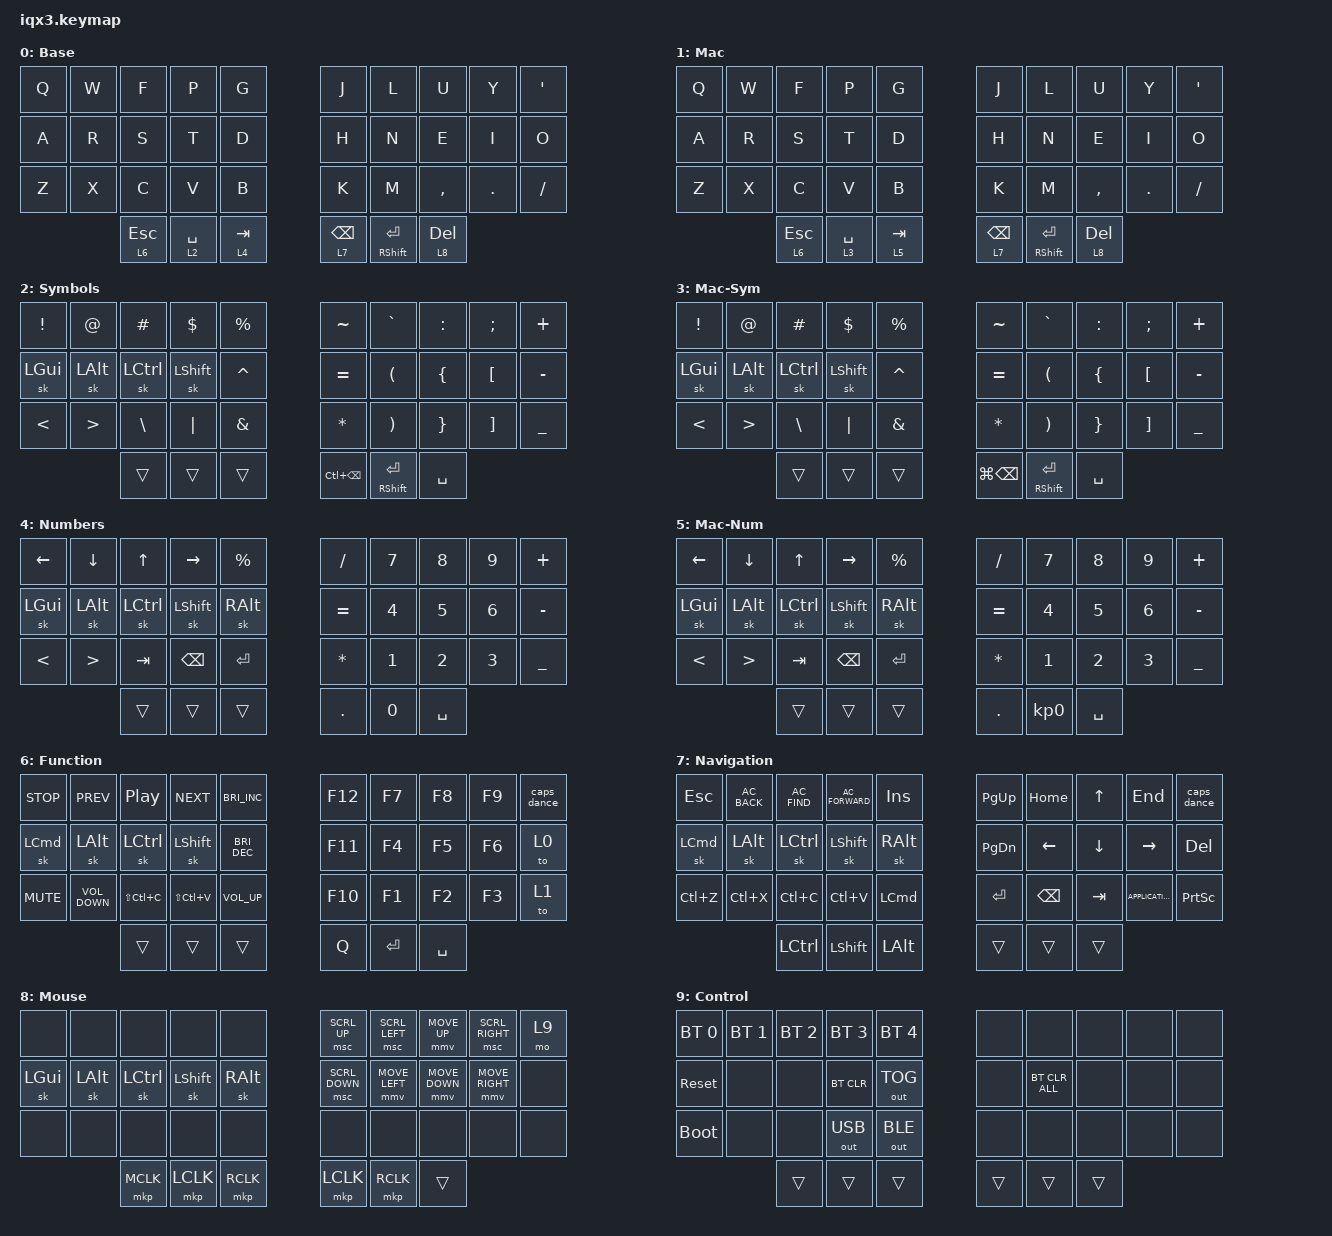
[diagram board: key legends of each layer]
/*
 * Copyright (c) 2020 The ZMK Contributors
 *
 * SPDX-License-Identifier: MIT
 */

#include <behaviors.dtsi>
#include <dt-bindings/zmk/bt.h>
#include <dt-bindings/zmk/keys.h>
#include <dt-bindings/zmk/outputs.h>
#include <dt-bindings/zmk/pointing.h>

/ {
    behaviors {
        ltq: ltq {
            compatible = "zmk,behavior-hold-tap";
            label = "LTQ";
            bindings = <&mo>, <&kp>;

            #binding-cells = <2>;
            tapping-term-ms = <200>;
            quick-tap-ms = <180>;
            flavor = "tap-preferred";
        };

        caps_dance: caps_dance {
            compatible = "zmk,behavior-tap-dance";
            label = "CAPS_DANCE";
            #binding-cells = <0>;
            bindings = <&caps_word>, <&kp CAPS>;
        };

        lock_mouse_layer: lock_mouse_layer {
            compatible = "zmk,behavior-tap-dance";
            label = "LOCK_MOUSE_LAYER";
            #binding-cells = <0>;
            bindings = <&tog_on 8>, <&tog_off 8>;
        };

        tog_on: tog_on {
            compatible = "zmk,behavior-toggle-layer";
            label = "TOG_ON";
            #binding-cells = <1>;
        };

        tog_off: tog_off {
            compatible = "zmk,behavior-toggle-layer";
            label = "TOG_OFF";
            #binding-cells = <1>;
            toggle-mode = "off";
        };
    };

    combos {
        compatible = "zmk,combos";

        tog_mouse {
            bindings = <&tog 8>;
            key-positions = <19 29>;
        };
    };

    keymap {
        compatible = "zmk,keymap";

        Base {
            label = "Base";
            bindings = <
  &kp Q  &kp W  &kp F      &kp P         &kp G       &kp J        &kp L            &kp U         &kp Y    &kp SQT
  &kp A  &kp R  &kp S      &kp T         &kp D       &kp H        &kp N            &kp E         &kp I    &kp O
  &kp Z  &kp X  &kp C      &kp V         &kp B       &kp K        &kp M            &kp COMMA     &kp DOT  &kp SLASH
                &lt 6 ESC  &ltq 2 SPACE  &ltq 4 TAB  &ltq 7 BSPC  &mt RSHFT ENTER  &lt 8 DELETE
            >;
        };

        Mac {
            label = "Mac";
            bindings = <
  &kp Q  &kp W  &kp F      &kp P         &kp G       &kp J        &kp L             &kp U         &kp Y    &kp SQT
  &kp A  &kp R  &kp S      &kp T         &kp D       &kp H        &kp N             &kp E         &kp I    &kp O
  &kp Z  &kp X  &kp C      &kp V         &kp B       &kp K        &kp M             &kp COMMA     &kp DOT  &kp SLASH
                &lt 6 ESC  &ltq 3 SPACE  &ltq 5 TAB  &ltq 7 BSPC  &mt RSHIFT ENTER  &lt 8 DELETE
            >;
        };

        Symbols {
            label = "Symbols";
            bindings = <
  &kp EXCLAMATION  &kp AT_SIGN       &kp HASH       &kp DOLLAR  &kp PERCENT    &kp TILDE          &kp GRAVE              &kp COLON        &kp SEMICOLON      &kp PLUS
  &sk LGUI         &sk LEFT_ALT      &sk LCTRL      &sk LSHFT   &kp CARET      &kp EQUAL          &kp LEFT_PARENTHESIS   &kp LEFT_BRACE   &kp LEFT_BRACKET   &kp MINUS
  &kp LESS_THAN    &kp GREATER_THAN  &kp BACKSLASH  &kp PIPE    &kp AMPERSAND  &kp ASTERISK       &kp RIGHT_PARENTHESIS  &kp RIGHT_BRACE  &kp RIGHT_BRACKET  &kp UNDERSCORE
                                     &trans         &trans      &trans         &kp LC(BACKSPACE)  &mt RSHFT ENTER        &kp SPACE
            >;
        };

        Mac-Sym {
            label = "Mac-Sym";
            bindings = <
  &kp EXCLAMATION  &kp AT_SIGN       &kp HASH       &kp DOLLAR  &kp PERCENT    &kp TILDE          &kp GRAVE              &kp COLON        &kp SEMICOLON      &kp PLUS
  &sk LGUI         &sk LEFT_ALT      &sk LCTRL      &sk LSHFT   &kp CARET      &kp EQUAL          &kp LEFT_PARENTHESIS   &kp LEFT_BRACE   &kp LEFT_BRACKET   &kp MINUS
  &kp LESS_THAN    &kp GREATER_THAN  &kp BACKSLASH  &kp PIPE    &kp AMPERSAND  &kp ASTERISK       &kp RIGHT_PARENTHESIS  &kp RIGHT_BRACE  &kp RIGHT_BRACKET  &kp UNDERSCORE
                                     &trans         &trans      &trans         &kp LG(BACKSPACE)  &mt RSHFT ENTER        &kp SPACE
            >;
        };

        Numbers {
            label = "Numbers";
            bindings = <
  &kp LEFT       &kp DOWN          &kp UP_ARROW  &kp RIGHT      &kp PERCENT  &kp SLASH     &kp N7        &kp N8        &kp N9        &kp PLUS
  &sk LGUI       &sk LEFT_ALT      &sk LCTRL     &sk LSHFT      &sk RALT     &kp EQUAL     &kp NUMBER_4  &kp N5        &kp NUMBER_6  &kp MINUS
  &kp LESS_THAN  &kp GREATER_THAN  &kp TAB       &kp BACKSPACE  &kp ENTER    &kp ASTERISK  &kp NUMBER_1  &kp NUMBER_2  &kp NUMBER_3  &kp UNDERSCORE
                                   &trans        &trans         &trans       &kp PERIOD    &kp NUMBER_0  &kp SPACE
            >;
        };

        Mac-Num {
            label = "Mac-Num";
            bindings = <
  &kp LEFT       &kp DOWN          &kp UP_ARROW  &kp RIGHT      &kp PERCENT  &kp SLASH     &kp N7           &kp N8        &kp N9        &kp PLUS
  &sk LGUI       &sk LEFT_ALT      &sk LCTRL     &sk LSHFT      &sk RALT     &kp EQUAL     &kp NUMBER_4     &kp N5        &kp NUMBER_6  &kp MINUS
  &kp LESS_THAN  &kp GREATER_THAN  &kp TAB       &kp BACKSPACE  &kp ENTER    &kp ASTERISK  &kp NUMBER_1     &kp NUMBER_2  &kp NUMBER_3  &kp UNDERSCORE
                                   &trans        &trans         &trans       &kp PERIOD    &kp KP_NUMBER_0  &kp SPACE
            >;
        };

        Function {
            label = "Function";
            bindings = <
  &kp C_STOP  &kp C_PREV         &kp C_PLAY_PAUSE  &kp C_NEXT     &kp C_BRIGHTNESS_INC  &kp F12  &kp F7     &kp F8     &kp F9  &caps_dance
  &sk LCMD    &sk LEFT_ALT       &sk LCTRL         &sk LSHFT      &kp C_BRIGHTNESS_DEC  &kp F11  &kp F4     &kp F5     &kp F6  &to 0
  &kp C_MUTE  &kp C_VOLUME_DOWN  &kp LS(LC(C))     &kp LS(LC(V))  &kp C_VOLUME_UP       &kp F10  &kp F1     &kp F2     &kp F3  &to 1
                                 &trans            &trans         &trans                &kp Q    &kp ENTER  &kp SPACE
            >;
        };

        Navigation {
            label = "Navigation";
            bindings = <
  &kp ESCAPE  &kp C_AC_BACK  &kp C_AC_FIND  &kp C_AC_FORWARD  &kp INSERT     &kp PAGE_UP    &kp HOME       &kp UP    &kp END            &caps_dance
  &sk LCMD    &sk LEFT_ALT   &sk LCTRL      &sk LSHFT         &sk RIGHT_ALT  &kp PAGE_DOWN  &kp LEFT       &kp DOWN  &kp RIGHT          &kp DELETE
  &kp LC(Z)   &kp LC(X)      &kp LC(C)      &kp LC(V)         &kp LCMD       &kp ENTER      &kp BACKSPACE  &kp TAB   &kp K_APPLICATION  &kp PRINTSCREEN
                             &kp LCTRL      &kp LSHFT         &kp LEFT_ALT   &trans         &trans         &trans
            >;
        };

        Mouse {
            label = "Mouse";
            bindings = <
  &none     &none     &none      &none      &none      &msc SCRL_UP    &msc SCRL_LEFT  &mmv MOVE_UP    &msc SCRL_RIGHT  &mo 9
  &sk LGUI  &sk LALT  &sk LCTRL  &sk LSHFT  &sk RALT   &msc SCRL_DOWN  &mmv MOVE_LEFT  &mmv MOVE_DOWN  &mmv MOVE_RIGHT  &none
  &none     &none     &none      &none      &none      &none           &none           &none           &none            &none
                      &mkp MCLK  &mkp LCLK  &mkp RCLK  &mkp LCLK       &mkp RCLK       &trans
            >;
        };

        Control {
            label = "Control";
            bindings = <
  &bt BT_SEL 0  &bt BT_SEL 1  &bt BT_SEL 2  &bt BT_SEL 3  &bt BT_SEL 4  &none   &none           &none   &none  &none
  &sys_reset    &none         &none         &bt BT_CLR    &out OUT_TOG  &none   &bt BT_CLR_ALL  &none   &none  &none
  &bootloader   &none         &none         &out OUT_USB  &out OUT_BLE  &none   &none           &none   &none  &none
                              &trans        &trans        &trans        &trans  &trans          &trans
            >;
        };
    };
};
